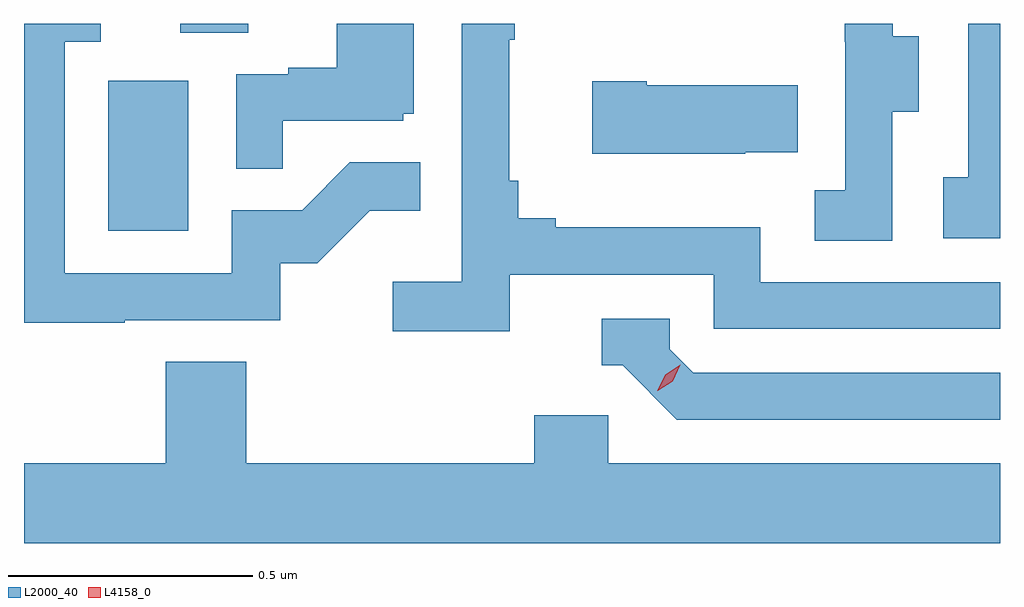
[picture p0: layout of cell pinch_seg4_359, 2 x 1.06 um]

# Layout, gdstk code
import gdstk
lib = gdstk.Library(unit=1e-6, precision=1e-09)
def R(c, l, rs):  # rectangles x0, y0, x1, y1
    for r in rs: c.add(gdstk.rectangle(r[:2], r[2:], *l))
def P(c, l, *ps):  # polygons
    for p in ps: c.add(gdstk.Polygon(p, *l))
L2000_40 = (2000, 40)
L4158_0 = (4158, 0)

pinch_seg4_359 = lib.new_cell('pinch_seg4_359')
R(pinch_seg4_359, L2000_40, [(995.156,797.46,995.32,797.767), (995.303,797.866,995.443,797.884)])
P(pinch_seg4_359, L2000_40, [(995.978,797.37),(996.396,797.37),(996.396,797.259),(996.983,797.259),(996.983,797.355),(996.492,797.355),(996.492,797.467),(996.073,797.467),(996.073,797.486),(995.996,797.486),(995.996,797.563),(995.977,797.563),(995.977,797.851),(995.989,797.851),(995.989,797.884),(995.88,797.884),(995.88,797.356),(995.739,797.356),(995.739,797.254),(995.978,797.254)],
  [(996.983,797.884),(996.918,797.884),(996.918,797.57),(996.867,797.57),(996.867,797.445),(996.983,797.445)],
  [(995.189,797.277),(995.508,797.277),(995.508,797.394),(995.584,797.394),(995.691,797.501),(995.795,797.501),(995.795,797.6),(995.651,797.6),(995.553,797.502),(995.409,797.502),(995.409,797.373),(995.067,797.373),(995.067,797.847),(995.14,797.847),(995.14,797.884),(994.983,797.884),(994.983,797.272),(995.189,797.272)],
  [(996.762,797.704),(996.817,797.704),(996.817,797.859),(996.763,797.859),(996.763,797.884),(996.665,797.884),(996.665,797.847),(996.666,797.847),(996.666,797.543),(996.603,797.543),(996.603,797.44),(996.762,797.44)],
  [(995.513,797.685),(995.76,797.685),(995.76,797.7),(995.782,797.7),(995.782,797.884),(995.624,797.884),(995.624,797.794),(995.525,797.794),(995.525,797.781),(995.418,797.781),(995.418,797.587),(995.513,797.587)],
  [(996.461,797.621),(996.569,797.621),(996.569,797.758),(996.259,797.758),(996.259,797.766),(996.147,797.766),(996.147,797.618),(996.461,797.618)],
  [(996.983,797.169),(996.354,797.169),(996.306,797.217),(996.306,797.28),(996.167,797.28),(996.167,797.184),(996.21,797.184),(996.321,797.073),(996.983,797.073)],
  [(996.983,796.984),(996.18,796.984),(996.18,797.082),(996.029,797.082),(996.029,796.984),(995.438,796.984),(995.438,797.192),(995.273,797.192),(995.273,796.984),(994.983,796.984),(994.983,796.82),(996.983,796.82)])
P(pinch_seg4_359, L4158_0, [(996.281,797.132),(996.281,797.132),(996.297,797.165),(996.328,797.185),(996.328,797.185),(996.328,797.185),(996.312,797.152),(996.282,797.132)])

lib.write_gds('pinch_seg4_359.gds')
